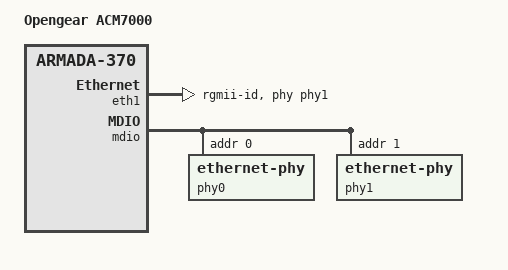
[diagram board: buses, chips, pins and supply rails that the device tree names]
/*
 * Device Tree file for Opengear ACM7000
 *
 * Ken Wilson <ken.wilson@opengear.com>
 *
 * This file is licensed under the terms of the GNU General Public
 * License version 2.  This program is licensed "as is" without any
 * warranty of any kind, whether express or implied.
 */
/dts-v1/;
#include "armada-370-acm7000-common.dtsi"

/ {
	model = "Opengear ACM7000";
	compatible = "opengear,cm7000", "marvell,armada370", "marvell,armada-370-xp";
	
	soc {
		internal-regs {
			
			eth1: ethernet@74000 {
				status = "okay";
				phy = <&phy1>;        
				phy-mode = "rgmii-id";
			};
		};
	};
};

&mdio {	
	status = "okay";

	phy0: ethernet-phy@0 {
		reg = <0>;
	};
	phy1: ethernet-phy@1 {
		reg = <1>;
	};
};
